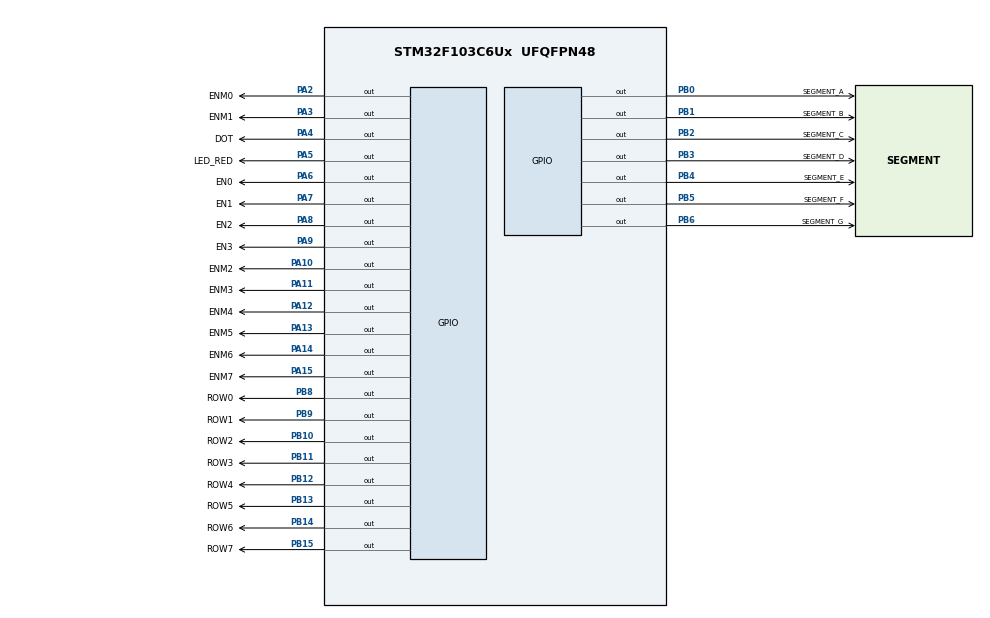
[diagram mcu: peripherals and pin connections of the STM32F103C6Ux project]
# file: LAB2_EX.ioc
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Mcu.Family=STM32F1
Mcu.Name=STM32F103C6Ux
Mcu.Package=UFQFPN48
NVIC.PriorityGroup=NVIC_PRIORITYGROUP_4
NVIC.TIM2_IRQn=true\:0\:0\:false\:false\:true\:true\:true
PA10.GPIO_Label=ENM2
PA10.Signal=GPIO_Output
PA11.GPIO_Label=ENM3
PA11.Signal=GPIO_Output
PA12.GPIO_Label=ENM4
PA12.Signal=GPIO_Output
PA13.GPIO_Label=ENM5
PA13.Signal=GPIO_Output
PA14.GPIO_Label=ENM6
PA14.Signal=GPIO_Output
PA15.GPIO_Label=ENM7
PA15.Signal=GPIO_Output
PA2.GPIO_Label=ENM0
PA2.Signal=GPIO_Output
PA3.GPIO_Label=ENM1
PA3.Signal=GPIO_Output
PA4.GPIO_Label=DOT
PA4.Signal=GPIO_Output
PA5.GPIO_Label=LED_RED
PA5.Signal=GPIO_Output
PA6.GPIO_Label=EN0
PA6.Signal=GPIO_Output
PA7.GPIO_Label=EN1
PA7.Signal=GPIO_Output
PA8.GPIO_Label=EN2
PA8.Signal=GPIO_Output
PA9.GPIO_Label=EN3
PA9.Signal=GPIO_Output
PB0.GPIO_Label=SEGMENT_A
PB0.Signal=GPIO_Output
PB1.GPIO_Label=SEGMENT_B
PB1.Signal=GPIO_Output
PB10.GPIO_Label=ROW2
PB10.Signal=GPIO_Output
PB11.GPIO_Label=ROW3
PB11.Signal=GPIO_Output
PB12.GPIO_Label=ROW4
PB12.Signal=GPIO_Output
PB13.GPIO_Label=ROW5
PB13.Signal=GPIO_Output
PB14.GPIO_Label=ROW6
PB14.Signal=GPIO_Output
PB15.GPIO_Label=ROW7
PB15.Signal=GPIO_Output
PB2.GPIO_Label=SEGMENT_C
PB2.Signal=GPIO_Output
PB3.GPIO_Label=SEGMENT_D
PB3.Signal=GPIO_Output
PB4.GPIO_Label=SEGMENT_E
PB4.Signal=GPIO_Output
PB5.GPIO_Label=SEGMENT_F
PB5.Signal=GPIO_Output
PB6.GPIO_Label=SEGMENT_G
PB6.Signal=GPIO_Output
PB8.GPIO_Label=ROW0
PB8.Signal=GPIO_Output
PB9.GPIO_Label=ROW1
PB9.Signal=GPIO_Output
ProjectManager.HeapSize=0x200
ProjectManager.StackSize=0x400
ProjectManager.TargetToolchain=STM32CubeIDE
RCC.APB1Freq_Value=8000000
RCC.APB2Freq_Value=8000000
TIM2.Period=9
TIM2.Prescaler=7999
VP_SYS_VS_ND.Mode=No_Debug
VP_TIM2_VS_ClockSourceINT.Mode=Internal
board=custom

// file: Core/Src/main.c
/* USER CODE BEGIN Header */
/**
  ******************************************************************************
  * @file           : main.c
  * @brief          : Main program body
  ******************************************************************************
  * @attention
  *
  * <h2><center>&copy; Copyright (c) 2023 STMicroelectronics.
  * All rights reserved.</center></h2>
  *
  * This software component is licensed by ST under BSD 3-Clause license,
  * the "License"; You may not use this file except in compliance with the
  * License. You may obtain a copy of the License at:
  *                        opensource.org/licenses/BSD-3-Clause
  *
  ******************************************************************************
  */
/* USER CODE END Header */
#include "main.h"

/* USER CODE BEGIN Includes */
#include <stdint.h>
#include "software_timer.h"

/* USER CODE END Includes */

TIM_HandleTypeDef htim2;

void SystemClock_Config(void);
static void MX_GPIO_Init(void);
static void MX_TIM2_Init(void);

/* USER CODE BEGIN 0 */

const int MAX_LED_MATRIX = 8;
int index_led_matrix = 0;
uint8_t matrix_buffer[8] = {0x00 , 0xFC , 0xFE , 0x33 , 0x33 , 0xFE , 0xFC , 0x00 };
void updateLEDMatrix (int index ){
	switch ( index ){
		case 0:
			  HAL_GPIO_WritePin(ENM0_GPIO_Port, ENM0_Pin, 0);
			  HAL_GPIO_WritePin(ENM1_GPIO_Port, ENM1_Pin, 1);
			  HAL_GPIO_WritePin(ENM2_GPIO_Port, ENM2_Pin, 1);
			  HAL_GPIO_WritePin(ENM3_GPIO_Port, ENM3_Pin, 1);
			  HAL_GPIO_WritePin(ENM4_GPIO_Port, ENM4_Pin, 1);
			  HAL_GPIO_WritePin(ENM5_GPIO_Port, ENM5_Pin, 1);
			  HAL_GPIO_WritePin(ENM6_GPIO_Port, ENM6_Pin, 1);
			  HAL_GPIO_WritePin(ENM7_GPIO_Port, ENM7_Pin, 1);

			  HAL_GPIO_WritePin(ROW0_GPIO_Port, ROW0_Pin, !(matrix_buffer[0] & 0x01));
			  HAL_GPIO_WritePin(ROW1_GPIO_Port, ROW1_Pin, !(matrix_buffer[0] & 0x02));
			  HAL_GPIO_WritePin(ROW2_GPIO_Port, ROW2_Pin, !(matrix_buffer[0] & 0x04));
			  HAL_GPIO_WritePin(ROW3_GPIO_Port, ROW3_Pin, !(matrix_buffer[0] & 0x08));
			  HAL_GPIO_WritePin(ROW4_GPIO_Port, ROW4_Pin, !(matrix_buffer[0] & 0x10));
			  HAL_GPIO_WritePin(ROW5_GPIO_Port, ROW5_Pin, !(matrix_buffer[0] & 0x20));
			  HAL_GPIO_WritePin(ROW6_GPIO_Port, ROW6_Pin, !(matrix_buffer[0] & 0x40));
			  HAL_GPIO_WritePin(ROW7_GPIO_Port, ROW7_Pin, !(matrix_buffer[0] & 0x80));
			break ;
		case 1:
			  HAL_GPIO_WritePin(ENM0_GPIO_Port, ENM0_Pin, 1);
			  HAL_GPIO_WritePin(ENM1_GPIO_Port, ENM1_Pin, 0);
			  HAL_GPIO_WritePin(ENM2_GPIO_Port, ENM2_Pin, 1);
			  HAL_GPIO_WritePin(ENM3_GPIO_Port, ENM3_Pin, 1);
			  HAL_GPIO_WritePin(ENM4_GPIO_Port, ENM4_Pin, 1);
			  HAL_GPIO_WritePin(ENM5_GPIO_Port, ENM5_Pin, 1);
			  HAL_GPIO_WritePin(ENM6_GPIO_Port, ENM6_Pin, 1);
			  HAL_GPIO_WritePin(ENM7_GPIO_Port, ENM7_Pin, 1);

			  HAL_GPIO_WritePin(ROW0_GPIO_Port, ROW0_Pin, !(matrix_buffer[1] & 0x01));
			  HAL_GPIO_WritePin(ROW1_GPIO_Port, ROW1_Pin, !(matrix_buffer[1] & 0x02));
			  HAL_GPIO_WritePin(ROW2_GPIO_Port, ROW2_Pin, !(matrix_buffer[1] & 0x04));
			  HAL_GPIO_WritePin(ROW3_GPIO_Port, ROW3_Pin, !(matrix_buffer[1] & 0x08));
			  HAL_GPIO_WritePin(ROW4_GPIO_Port, ROW4_Pin, !(matrix_buffer[1] & 0x10));
			  HAL_GPIO_WritePin(ROW5_GPIO_Port, ROW5_Pin, !(matrix_buffer[1] & 0x20));
			  HAL_GPIO_WritePin(ROW6_GPIO_Port, ROW6_Pin, !(matrix_buffer[1] & 0x40));
			  HAL_GPIO_WritePin(ROW7_GPIO_Port, ROW7_Pin, !(matrix_buffer[1] & 0x80));
			break ;
		case 2:
			  HAL_GPIO_WritePin(ENM0_GPIO_Port, ENM0_Pin, 1);
			  HAL_GPIO_WritePin(ENM1_GPIO_Port, ENM1_Pin, 1);
			  HAL_GPIO_WritePin(ENM2_GPIO_Port, ENM2_Pin, 0);
			  HAL_GPIO_WritePin(ENM3_GPIO_Port, ENM3_Pin, 1);
			  HAL_GPIO_WritePin(ENM4_GPIO_Port, ENM4_Pin, 1);
			  HAL_GPIO_WritePin(ENM5_GPIO_Port, ENM5_Pin, 1);
			  HAL_GPIO_WritePin(ENM6_GPIO_Port, ENM6_Pin, 1);
			  HAL_GPIO_WritePin(ENM7_GPIO_Port, ENM7_Pin, 1);

			  HAL_GPIO_WritePin(ROW0_GPIO_Port, ROW0_Pin, !(matrix_buffer[2] & 0x01));
			  HAL_GPIO_WritePin(ROW1_GPIO_Port, ROW1_Pin, !(matrix_buffer[2] & 0x02));
			  HAL_GPIO_WritePin(ROW2_GPIO_Port, ROW2_Pin, !(matrix_buffer[2] & 0x04));
			  HAL_GPIO_WritePin(ROW3_GPIO_Port, ROW3_Pin, !(matrix_buffer[2] & 0x08));
			  HAL_GPIO_WritePin(ROW4_GPIO_Port, ROW4_Pin, !(matrix_buffer[2] & 0x10));
			  HAL_GPIO_WritePin(ROW5_GPIO_Port, ROW5_Pin, !(matrix_buffer[2] & 0x20));
			  HAL_GPIO_WritePin(ROW6_GPIO_Port, ROW6_Pin, !(matrix_buffer[2] & 0x40));
			  HAL_GPIO_WritePin(ROW7_GPIO_Port, ROW7_Pin, !(matrix_buffer[2] & 0x80));
			break ;
		case 3:
			  HAL_GPIO_WritePin(ENM0_GPIO_Port, ENM0_Pin, 1);
			  HAL_GPIO_WritePin(ENM1_GPIO_Port, ENM1_Pin, 1);
			  HAL_GPIO_WritePin(ENM2_GPIO_Port, ENM2_Pin, 1);
			  HAL_GPIO_WritePin(ENM3_GPIO_Port, ENM3_Pin, 0);
			  HAL_GPIO_WritePin(ENM4_GPIO_Port, ENM4_Pin, 1);
			  HAL_GPIO_WritePin(ENM5_GPIO_Port, ENM5_Pin, 1);
			  HAL_GPIO_WritePin(ENM6_GPIO_Port, ENM6_Pin, 1);
			  HAL_GPIO_WritePin(ENM7_GPIO_Port, ENM7_Pin, 1);

			  HAL_GPIO_WritePin(ROW0_GPIO_Port, ROW0_Pin, !(matrix_buffer[3] & 0x01));
			  HAL_GPIO_WritePin(ROW1_GPIO_Port, ROW1_Pin, !(matrix_buffer[3] & 0x02));
			  HAL_GPIO_WritePin(ROW2_GPIO_Port, ROW2_Pin, !(matrix_buffer[3] & 0x04));
			  HAL_GPIO_WritePin(ROW3_GPIO_Port, ROW3_Pin, !(matrix_buffer[3] & 0x08));
			  HAL_GPIO_WritePin(ROW4_GPIO_Port, ROW4_Pin, !(matrix_buffer[3] & 0x10));
			  HAL_GPIO_WritePin(ROW5_GPIO_Port, ROW5_Pin, !(matrix_buffer[3] & 0x20));
			  HAL_GPIO_WritePin(ROW6_GPIO_Port, ROW6_Pin, !(matrix_buffer[3] & 0x40));
			  HAL_GPIO_WritePin(ROW7_GPIO_Port, ROW7_Pin, !(matrix_buffer[3] & 0x80));
			break ;
		case 4:
			  HAL_GPIO_WritePin(ENM0_GPIO_Port, ENM0_Pin, 1);
			  HAL_GPIO_WritePin(ENM1_GPIO_Port, ENM1_Pin, 1);
			  HAL_GPIO_WritePin(ENM2_GPIO_Port, ENM2_Pin, 1);
			  HAL_GPIO_WritePin(ENM3_GPIO_Port, ENM3_Pin, 1);
			  HAL_GPIO_WritePin(ENM4_GPIO_Port, ENM4_Pin, 0);
			  HAL_GPIO_WritePin(ENM5_GPIO_Port, ENM5_Pin, 1);
			  HAL_GPIO_WritePin(ENM6_GPIO_Port, ENM6_Pin, 1);
			  HAL_GPIO_WritePin(ENM7_GPIO_Port, ENM7_Pin, 1);

			  HAL_GPIO_WritePin(ROW0_GPIO_Port, ROW0_Pin, !(matrix_buffer[4] & 0x01));
			  HAL_GPIO_WritePin(ROW1_GPIO_Port, ROW1_Pin, !(matrix_buffer[4] & 0x02));
			  HAL_GPIO_WritePin(ROW2_GPIO_Port, ROW2_Pin, !(matrix_buffer[4] & 0x04));
			  HAL_GPIO_WritePin(ROW3_GPIO_Port, ROW3_Pin, !(matrix_buffer[4] & 0x08));
			  HAL_GPIO_WritePin(ROW4_GPIO_Port, ROW4_Pin, !(matrix_buffer[4] & 0x10));
			  HAL_GPIO_WritePin(ROW5_GPIO_Port, ROW5_Pin, !(matrix_buffer[4] & 0x20));
			  HAL_GPIO_WritePin(ROW6_GPIO_Port, ROW6_Pin, !(matrix_buffer[4] & 0x40));
			  HAL_GPIO_WritePin(ROW7_GPIO_Port, ROW7_Pin, !(matrix_buffer[4] & 0x80));
			break ;
		case 5:
			  HAL_GPIO_WritePin(ENM0_GPIO_Port, ENM0_Pin, 1);
			  HAL_GPIO_WritePin(ENM1_GPIO_Port, ENM1_Pin, 1);
			  HAL_GPIO_WritePin(ENM2_GPIO_Port, ENM2_Pin, 1);
			  HAL_GPIO_WritePin(ENM3_GPIO_Port, ENM3_Pin, 1);
			  HAL_GPIO_WritePin(ENM4_GPIO_Port, ENM4_Pin, 1);
			  HAL_GPIO_WritePin(ENM5_GPIO_Port, ENM5_Pin, 0);
			  HAL_GPIO_WritePin(ENM6_GPIO_Port, ENM6_Pin, 1);
			  HAL_GPIO_WritePin(ENM7_GPIO_Port, ENM7_Pin, 1);

			  HAL_GPIO_WritePin(ROW0_GPIO_Port, ROW0_Pin, !(matrix_buffer[5] & 0x01));
			  HAL_GPIO_WritePin(ROW1_GPIO_Port, ROW1_Pin, !(matrix_buffer[5] & 0x02));
			  HAL_GPIO_WritePin(ROW2_GPIO_Port, ROW2_Pin, !(matrix_buffer[5] & 0x04));
			  HAL_GPIO_WritePin(ROW3_GPIO_Port, ROW3_Pin, !(matrix_buffer[5] & 0x08));
			  HAL_GPIO_WritePin(ROW4_GPIO_Port, ROW4_Pin, !(matrix_buffer[5] & 0x10));
			  HAL_GPIO_WritePin(ROW5_GPIO_Port, ROW5_Pin, !(matrix_buffer[5] & 0x20));
			  HAL_GPIO_WritePin(ROW6_GPIO_Port, ROW6_Pin, !(matrix_buffer[5] & 0x40));
			  HAL_GPIO_WritePin(ROW7_GPIO_Port, ROW7_Pin, !(matrix_buffer[5] & 0x80));
			break ;
		case 6:
			  HAL_GPIO_WritePin(ENM0_GPIO_Port, ENM0_Pin, 1);
			  HAL_GPIO_WritePin(ENM1_GPIO_Port, ENM1_Pin, 1);
			  HAL_GPIO_WritePin(ENM2_GPIO_Port, ENM2_Pin, 1);
			  HAL_GPIO_WritePin(ENM3_GPIO_Port, ENM3_Pin, 1);
			  HAL_GPIO_WritePin(ENM4_GPIO_Port, ENM4_Pin, 1);
			  HAL_GPIO_WritePin(ENM5_GPIO_Port, ENM5_Pin, 1);
			  HAL_GPIO_WritePin(ENM6_GPIO_Port, ENM6_Pin, 0);
			  HAL_GPIO_WritePin(ENM7_GPIO_Port, ENM7_Pin, 1);

			  HAL_GPIO_WritePin(ROW0_GPIO_Port, ROW0_Pin, !(matrix_buffer[6] & 0x01));
			  HAL_GPIO_WritePin(ROW1_GPIO_Port, ROW1_Pin, !(matrix_buffer[6] & 0x02));
			  HAL_GPIO_WritePin(ROW2_GPIO_Port, ROW2_Pin, !(matrix_buffer[6] & 0x04));
			  HAL_GPIO_WritePin(ROW3_GPIO_Port, ROW3_Pin, !(matrix_buffer[6] & 0x08));
			  HAL_GPIO_WritePin(ROW4_GPIO_Port, ROW4_Pin, !(matrix_buffer[6] & 0x10));
			  HAL_GPIO_WritePin(ROW5_GPIO_Port, ROW5_Pin, !(matrix_buffer[6] & 0x20));
			  HAL_GPIO_WritePin(ROW6_GPIO_Port, ROW6_Pin, !(matrix_buffer[6] & 0x40));
			  HAL_GPIO_WritePin(ROW7_GPIO_Port, ROW7_Pin, !(matrix_buffer[6] & 0x80));
			break ;
		case 7:
			  HAL_GPIO_WritePin(ENM0_GPIO_Port, ENM0_Pin, 1);
			  HAL_GPIO_WritePin(ENM1_GPIO_Port, ENM1_Pin, 1);
			  HAL_GPIO_WritePin(ENM2_GPIO_Port, ENM2_Pin, 1);
			  HAL_GPIO_WritePin(ENM3_GPIO_Port, ENM3_Pin, 1);
			  HAL_GPIO_WritePin(ENM4_GPIO_Port, ENM4_Pin, 1);
			  HAL_GPIO_WritePin(ENM5_GPIO_Port, ENM5_Pin, 1);
			  HAL_GPIO_WritePin(ENM6_GPIO_Port, ENM6_Pin, 1);
			  HAL_GPIO_WritePin(ENM7_GPIO_Port, ENM7_Pin, 0);

			  HAL_GPIO_WritePin(ROW0_GPIO_Port, ROW0_Pin, !(matrix_buffer[7] & 0x01));
			  HAL_GPIO_WritePin(ROW1_GPIO_Port, ROW1_Pin, !(matrix_buffer[7] & 0x02));
			  HAL_GPIO_WritePin(ROW2_GPIO_Port, ROW2_Pin, !(matrix_buffer[7] & 0x04));
			  HAL_GPIO_WritePin(ROW3_GPIO_Port, ROW3_Pin, !(matrix_buffer[7] & 0x08));
			  HAL_GPIO_WritePin(ROW4_GPIO_Port, ROW4_Pin, !(matrix_buffer[7] & 0x10));
			  HAL_GPIO_WritePin(ROW5_GPIO_Port, ROW5_Pin, !(matrix_buffer[7] & 0x20));
			  HAL_GPIO_WritePin(ROW6_GPIO_Port, ROW6_Pin, !(matrix_buffer[7] & 0x40));
			  HAL_GPIO_WritePin(ROW7_GPIO_Port, ROW7_Pin, !(matrix_buffer[7] & 0x80));
			break ;
		default :
			break ;
	}
}
// update matrix buffer
void updateMatrixBuffer()
{
	uint8_t temp = matrix_buffer[0];
	matrix_buffer[0] = matrix_buffer[1];
	matrix_buffer[1] = matrix_buffer[2];
	matrix_buffer[2] = matrix_buffer[3];
	matrix_buffer[3] = matrix_buffer[4];
	matrix_buffer[4] = matrix_buffer[5];
	matrix_buffer[5] = matrix_buffer[6];
	matrix_buffer[6] = matrix_buffer[7];
	matrix_buffer[7] = temp;
}
// display 7 SEG
void display7SEG(int num)
{
	  if(num == 0)
	  {
		  HAL_GPIO_WritePin(SEGMENT_A_GPIO_Port, SEGMENT_A_Pin, 0);
		  HAL_GPIO_WritePin(SEGMENT_B_GPIO_Port, SEGMENT_B_Pin, 0);
		  HAL_GPIO_WritePin(SEGMENT_C_GPIO_Port, SEGMENT_C_Pin, 0);
		  HAL_GPIO_WritePin(SEGMENT_D_GPIO_Port, SEGMENT_D_Pin, 0);
		  HAL_GPIO_WritePin(SEGMENT_E_GPIO_Port, SEGMENT_E_Pin, 0);
		  HAL_GPIO_WritePin(SEGMENT_F_GPIO_Port, SEGMENT_F_Pin, 0);
		  HAL_GPIO_WritePin(SEGMENT_G_GPIO_Port, SEGMENT_G_Pin, 1);

	  }
	  if(num == 1)
	  {
		  HAL_GPIO_WritePin(SEGMENT_A_GPIO_Port, SEGMENT_A_Pin, 1);
		  HAL_GPIO_WritePin(SEGMENT_B_GPIO_Port, SEGMENT_B_Pin, 0);
		  HAL_GPIO_WritePin(SEGMENT_C_GPIO_Port, SEGMENT_C_Pin, 0);
		  HAL_GPIO_WritePin(SEGMENT_D_GPIO_Port, SEGMENT_D_Pin, 1);
		  HAL_GPIO_WritePin(SEGMENT_E_GPIO_Port, SEGMENT_E_Pin, 1);
		  HAL_GPIO_WritePin(SEGMENT_F_GPIO_Port, SEGMENT_F_Pin, 1);
		  HAL_GPIO_WritePin(SEGMENT_G_GPIO_Port, SEGMENT_G_Pin, 1);
	  }
	  if(num == 2)
	  {
		  HAL_GPIO_WritePin(SEGMENT_A_GPIO_Port, SEGMENT_A_Pin, 0);
		  HAL_GPIO_WritePin(SEGMENT_B_GPIO_Port, SEGMENT_B_Pin, 0);
		  HAL_GPIO_WritePin(SEGMENT_C_GPIO_Port, SEGMENT_C_Pin, 1);
		  HAL_GPIO_WritePin(SEGMENT_D_GPIO_Port, SEGMENT_D_Pin, 0);
		  HAL_GPIO_WritePin(SEGMENT_E_GPIO_Port, SEGMENT_E_Pin, 0);
		  HAL_GPIO_WritePin(SEGMENT_F_GPIO_Port, SEGMENT_F_Pin, 1);
		  HAL_GPIO_WritePin(SEGMENT_G_GPIO_Port, SEGMENT_G_Pin, 0);
	  }
	  if(num == 3)
	  {
		  HAL_GPIO_WritePin(SEGMENT_A_GPIO_Port, SEGMENT_A_Pin, 0);
		  HAL_GPIO_WritePin(SEGMENT_B_GPIO_Port, SEGMENT_B_Pin, 0);
		  HAL_GPIO_WritePin(SEGMENT_C_GPIO_Port, SEGMENT_C_Pin, 0);
		  HAL_GPIO_WritePin(SEGMENT_D_GPIO_Port, SEGMENT_D_Pin, 0);
		  HAL_GPIO_WritePin(SEGMENT_E_GPIO_Port, SEGMENT_E_Pin, 1);
		  HAL_GPIO_WritePin(SEGMENT_F_GPIO_Port, SEGMENT_F_Pin, 1);
		  HAL_GPIO_WritePin(SEGMENT_G_GPIO_Port, SEGMENT_G_Pin, 0);
	  }
	  if(num == 4)
	  {
		  HAL_GPIO_WritePin(SEGMENT_A_GPIO_Port, SEGMENT_A_Pin, 1);
		  HAL_GPIO_WritePin(SEGMENT_B_GPIO_Port, SEGMENT_B_Pin, 0);
		  HAL_GPIO_WritePin(SEGMENT_C_GPIO_Port, SEGMENT_C_Pin, 0);
		  HAL_GPIO_WritePin(SEGMENT_D_GPIO_Port, SEGMENT_D_Pin, 1);
		  HAL_GPIO_WritePin(SEGMENT_E_GPIO_Port, SEGMENT_E_Pin, 1);
		  HAL_GPIO_WritePin(SEGMENT_F_GPIO_Port, SEGMENT_F_Pin, 0);
		  HAL_GPIO_WritePin(SEGMENT_G_GPIO_Port, SEGMENT_G_Pin, 0);
	  }
	  if(num == 5)
	  {
		  HAL_GPIO_WritePin(SEGMENT_A_GPIO_Port, SEGMENT_A_Pin, 0);
		  HAL_GPIO_WritePin(SEGMENT_B_GPIO_Port, SEGMENT_B_Pin, 1);
		  HAL_GPIO_WritePin(SEGMENT_C_GPIO_Port, SEGMENT_C_Pin, 0);
		  HAL_GPIO_WritePin(SEGMENT_D_GPIO_Port, SEGMENT_D_Pin, 0);
		  HAL_GPIO_WritePin(SEGMENT_E_GPIO_Port, SEGMENT_E_Pin, 1);
		  HAL_GPIO_WritePin(SEGMENT_F_GPIO_Port, SEGMENT_F_Pin, 0);
		  HAL_GPIO_WritePin(SEGMENT_G_GPIO_Port, SEGMENT_G_Pin, 0);
	  }
	  if(num == 6)
	  {
		  HAL_GPIO_WritePin(SEGMENT_A_GPIO_Port, SEGMENT_A_Pin, 0);
		  HAL_GPIO_WritePin(SEGMENT_B_GPIO_Port, SEGMENT_B_Pin, 1);
		  HAL_GPIO_WritePin(SEGMENT_C_GPIO_Port, SEGMENT_C_Pin, 0);
		  HAL_GPIO_WritePin(SEGMENT_D_GPIO_Port, SEGMENT_D_Pin, 0);
		  HAL_GPIO_WritePin(SEGMENT_E_GPIO_Port, SEGMENT_E_Pin, 0);
		  HAL_GPIO_WritePin(SEGMENT_F_GPIO_Port, SEGMENT_F_Pin, 0);
		  HAL_GPIO_WritePin(SEGMENT_G_GPIO_Port, SEGMENT_G_Pin, 0);
	  }
	  if(num == 7)
	  {
		  HAL_GPIO_WritePin(SEGMENT_A_GPIO_Port, SEGMENT_A_Pin, 0);
		  HAL_GPIO_WritePin(SEGMENT_B_GPIO_Port, SEGMENT_B_Pin, 0);
		  HAL_GPIO_WritePin(SEGMENT_C_GPIO_Port, SEGMENT_C_Pin, 0);
		  HAL_GPIO_WritePin(SEGMENT_D_GPIO_Port, SEGMENT_D_Pin, 1);
		  HAL_GPIO_WritePin(SEGMENT_E_GPIO_Port, SEGMENT_E_Pin, 1);
		  HAL_GPIO_WritePin(SEGMENT_F_GPIO_Port, SEGMENT_F_Pin, 1);
		  HAL_GPIO_WritePin(SEGMENT_G_GPIO_Port, SEGMENT_G_Pin, 1);
	  }
	  if(num == 8)
	  {
		  HAL_GPIO_WritePin(SEGMENT_A_GPIO_Port, SEGMENT_A_Pin, 0);
		  HAL_GPIO_WritePin(SEGMENT_B_GPIO_Port, SEGMENT_B_Pin, 0);
		  HAL_GPIO_WritePin(SEGMENT_C_GPIO_Port, SEGMENT_C_Pin, 0);
		  HAL_GPIO_WritePin(SEGMENT_D_GPIO_Port, SEGMENT_D_Pin, 0);
		  HAL_GPIO_WritePin(SEGMENT_E_GPIO_Port, SEGMENT_E_Pin, 0);
		  HAL_GPIO_WritePin(SEGMENT_F_GPIO_Port, SEGMENT_F_Pin, 0);
		  HAL_GPIO_WritePin(SEGMENT_G_GPIO_Port, SEGMENT_G_Pin, 0);
	  }
	  if(num == 9)
	  {
		  HAL_GPIO_WritePin(SEGMENT_A_GPIO_Port, SEGMENT_A_Pin, 0);
		  HAL_GPIO_WritePin(SEGMENT_B_GPIO_Port, SEGMENT_B_Pin, 0);
		  HAL_GPIO_WritePin(SEGMENT_C_GPIO_Port, SEGMENT_C_Pin, 0);
		  HAL_GPIO_WritePin(SEGMENT_D_GPIO_Port, SEGMENT_D_Pin, 0);
		  HAL_GPIO_WritePin(SEGMENT_E_GPIO_Port, SEGMENT_E_Pin, 1);
		  HAL_GPIO_WritePin(SEGMENT_F_GPIO_Port, SEGMENT_F_Pin, 0);
		  HAL_GPIO_WritePin(SEGMENT_G_GPIO_Port, SEGMENT_G_Pin, 0);
	  }
}

const int MAX_LED = 4;
int led_buffer [4] = {1, 0, 2, 8};
int hour = 15, minute = 8, second = 50;
void update7SEG ( int index ){
	switch ( index ){
	case 0:
		// Display the first 7 SEG with led_buffer [0]
	  	HAL_GPIO_WritePin(EN0_GPIO_Port, EN0_Pin, 0);
	  	HAL_GPIO_WritePin(EN1_GPIO_Port, EN1_Pin, 1);
	  	HAL_GPIO_WritePin(EN2_GPIO_Port, EN2_Pin, 1);
	  	HAL_GPIO_WritePin(EN3_GPIO_Port, EN3_Pin, 1);
		display7SEG(led_buffer[0]);
		break ;
	case 1:
		// Display the second 7 SEG with led_buffer [1]
	  	HAL_GPIO_WritePin(EN0_GPIO_Port, EN0_Pin, 1);
	  	HAL_GPIO_WritePin(EN1_GPIO_Port, EN1_Pin, 0);
	  	HAL_GPIO_WritePin(EN2_GPIO_Port, EN2_Pin, 1);
	  	HAL_GPIO_WritePin(EN3_GPIO_Port, EN3_Pin, 1);
		display7SEG(led_buffer[1]);
		break ;
	case 2:
		// Display the third 7 SEG with led_buffer [2]
	  	HAL_GPIO_WritePin(EN0_GPIO_Port, EN0_Pin, 1);
	  	HAL_GPIO_WritePin(EN1_GPIO_Port, EN1_Pin, 1);
	  	HAL_GPIO_WritePin(EN2_GPIO_Port, EN2_Pin, 0);
	  	HAL_GPIO_WritePin(EN3_GPIO_Port, EN3_Pin, 1);
		display7SEG(led_buffer[2]);
		break ;
	case 3:
		// Display the forth 7 SEG with led_buffer [3]
	  	HAL_GPIO_WritePin(EN0_GPIO_Port, EN0_Pin, 1);
	  	HAL_GPIO_WritePin(EN1_GPIO_Port, EN1_Pin, 1);
	  	HAL_GPIO_WritePin(EN2_GPIO_Port, EN2_Pin, 1);
	  	HAL_GPIO_WritePin(EN3_GPIO_Port, EN3_Pin, 0);
		display7SEG(led_buffer[3]);
		break ;
	default :
		break ;
	}
}

// update clock
void updateClockBuffer ()
{
	led_buffer[0] = hour / 10;
	led_buffer[1] = hour % 10;
	led_buffer[2] = minute / 10;
	led_buffer[3] = minute % 10;
}
/* USER CODE END 0 */

int main(void)
{
  /* USER CODE BEGIN 1 */
	int index_led = 0;

  /* USER CODE END 1 */

  /* MCU Configuration--------------------------------------------------------*/

  /* Reset of all peripherals, Initializes the Flash interface and the Systick. */
  HAL_Init();

  /* Configure the system clock */
  SystemClock_Config();

  /* Initialize all configured peripherals */
  MX_GPIO_Init();
  MX_TIM2_Init();
  /* USER CODE BEGIN 2 */
  HAL_TIM_Base_Start_IT(&htim2);
  /* USER CODE END 2 */

  /* Infinite loop */
  /* USER CODE BEGIN WHILE */

  setTimer1(100);
  setTimer2(25);
  setTimer3(10);
  setTimer4(80);
  updateClockBuffer ();
  while (1)
  {
	  if (timer1_flag == 1)
	  {
		  setTimer1(100);
		  //TO DO
		  HAL_GPIO_TogglePin(DOT_GPIO_Port, DOT_Pin);
		  HAL_GPIO_TogglePin(LED_RED_GPIO_Port, LED_RED_Pin);

		  // update time
		  second++;
		  if ( second >= 60)
		  {
			  second = 0;
		  	  minute++;
		  }
		  if( minute >= 60)
		  {
			  minute = 0;
		  	  hour++;
		  }
		  if( hour >=24)
		  {
			  hour = 0;
		  }
		  updateClockBuffer ();

	  }
	  if (timer2_flag == 1)
	  {
		  setTimer2(25);
		  switch (index_led)
		 		  {
		 		  	case 0:
		 		  		update7SEG(index_led);
		 		  		break;
		 		  	case 1:
		 		  		update7SEG(index_led);
		 		  		break;
		 		  	case 2:
		 		  		update7SEG(index_led);
		 		  		break;
		 		  	case 3:
		 		  		update7SEG(index_led);
		 		  		break;
		 		  	default:
		 		  		break;

		 		  }
		  index_led++;
		  if (index_led >= MAX_LED) index_led = 0;
	  	  }
	  if (timer3_flag == 1)
	  {
		  setTimer3(10);
		  updateLEDMatrix(index_led_matrix);
		  index_led_matrix++;
		  if (index_led_matrix >= MAX_LED_MATRIX) index_led_matrix = 0;
	  }
	  if (timer4_flag == 1)
	  {
		  setTimer4(80);
		  updateMatrixBuffer();
	  }

    /* USER CODE END WHILE */

  }
}

void SystemClock_Config(void)
{
  RCC_OscInitTypeDef RCC_OscInitStruct = {0};
  RCC_ClkInitTypeDef RCC_ClkInitStruct = {0};

  /** Initializes the RCC Oscillators according to the specified parameters
  * in the RCC_OscInitTypeDef structure.
  */
  RCC_OscInitStruct.OscillatorType = RCC_OSCILLATORTYPE_HSI;
  RCC_OscInitStruct.HSIState = RCC_HSI_ON;
  RCC_OscInitStruct.HSICalibrationValue = RCC_HSICALIBRATION_DEFAULT;
  RCC_OscInitStruct.PLL.PLLState = RCC_PLL_NONE;
  if (HAL_RCC_OscConfig(&RCC_OscInitStruct) != HAL_OK)
  {
    Error_Handler();
  }
  /** Initializes the CPU, AHB and APB buses clocks
  */
  RCC_ClkInitStruct.ClockType = RCC_CLOCKTYPE_HCLK|RCC_CLOCKTYPE_SYSCLK
                              |RCC_CLOCKTYPE_PCLK1|RCC_CLOCKTYPE_PCLK2;
  RCC_ClkInitStruct.SYSCLKSource = RCC_SYSCLKSOURCE_HSI;
  RCC_ClkInitStruct.AHBCLKDivider = RCC_SYSCLK_DIV1;
  RCC_ClkInitStruct.APB1CLKDivider = RCC_HCLK_DIV1;
  RCC_ClkInitStruct.APB2CLKDivider = RCC_HCLK_DIV1;

  if (HAL_RCC_ClockConfig(&RCC_ClkInitStruct, FLASH_LATENCY_0) != HAL_OK)
  {
    Error_Handler();
  }
}

static void MX_TIM2_Init(void)
{

  TIM_ClockConfigTypeDef sClockSourceConfig = {0};
  TIM_MasterConfigTypeDef sMasterConfig = {0};

  htim2.Instance = TIM2;
  htim2.Init.Prescaler = 7999;
  htim2.Init.CounterMode = TIM_COUNTERMODE_UP;
  htim2.Init.Period = 9;
  htim2.Init.ClockDivision = TIM_CLOCKDIVISION_DIV1;
  htim2.Init.AutoReloadPreload = TIM_AUTORELOAD_PRELOAD_DISABLE;
  if (HAL_TIM_Base_Init(&htim2) != HAL_OK)
  {
    Error_Handler();
  }
  sClockSourceConfig.ClockSource = TIM_CLOCKSOURCE_INTERNAL;
  if (HAL_TIM_ConfigClockSource(&htim2, &sClockSourceConfig) != HAL_OK)
  {
    Error_Handler();
  }
  sMasterConfig.MasterOutputTrigger = TIM_TRGO_RESET;
  sMasterConfig.MasterSlaveMode = TIM_MASTERSLAVEMODE_DISABLE;
  if (HAL_TIMEx_MasterConfigSynchronization(&htim2, &sMasterConfig) != HAL_OK)
  {
    Error_Handler();
  }

}

static void MX_GPIO_Init(void)
{
  GPIO_InitTypeDef GPIO_InitStruct = {0};

  /* GPIO Ports Clock Enable */
  __HAL_RCC_GPIOA_CLK_ENABLE();
  __HAL_RCC_GPIOB_CLK_ENABLE();

  /*Configure GPIO pin Output Level */
  HAL_GPIO_WritePin(GPIOA, ENM0_Pin|ENM1_Pin|DOT_Pin|LED_RED_Pin
                          |EN0_Pin|EN1_Pin|EN2_Pin|EN3_Pin
                          |ENM2_Pin|ENM3_Pin|ENM4_Pin|ENM5_Pin
                          |ENM6_Pin|ENM7_Pin, GPIO_PIN_RESET);

  /*Configure GPIO pin Output Level */
  HAL_GPIO_WritePin(GPIOB, SEGMENT_A_Pin|SEGMENT_B_Pin|SEGMENT_C_Pin|ROW2_Pin
                          |ROW3_Pin|ROW4_Pin|ROW5_Pin|ROW6_Pin
                          |ROW7_Pin|SEGMENT_D_Pin|SEGMENT_E_Pin|SEGMENT_F_Pin
                          |SEGMENT_G_Pin|ROW0_Pin|ROW1_Pin, GPIO_PIN_RESET);

  /*Configure GPIO pins : ENM0_Pin ENM1_Pin DOT_Pin LED_RED_Pin
                           EN0_Pin EN1_Pin EN2_Pin EN3_Pin
                           ENM2_Pin ENM3_Pin ENM4_Pin ENM5_Pin
                           ENM6_Pin ENM7_Pin */
  GPIO_InitStruct.Pin = ENM0_Pin|ENM1_Pin|DOT_Pin|LED_RED_Pin
                          |EN0_Pin|EN1_Pin|EN2_Pin|EN3_Pin
                          |ENM2_Pin|ENM3_Pin|ENM4_Pin|ENM5_Pin
                          |ENM6_Pin|ENM7_Pin;
  GPIO_InitStruct.Mode = GPIO_MODE_OUTPUT_PP;
  GPIO_InitStruct.Pull = GPIO_NOPULL;
  GPIO_InitStruct.Speed = GPIO_SPEED_FREQ_LOW;
  HAL_GPIO_Init(GPIOA, &GPIO_InitStruct);

  /*Configure GPIO pins : SEGMENT_A_Pin SEGMENT_B_Pin SEGMENT_C_Pin ROW2_Pin
                           ROW3_Pin ROW4_Pin ROW5_Pin ROW6_Pin
                           ROW7_Pin SEGMENT_D_Pin SEGMENT_E_Pin SEGMENT_F_Pin
                           SEGMENT_G_Pin ROW0_Pin ROW1_Pin */
  GPIO_InitStruct.Pin = SEGMENT_A_Pin|SEGMENT_B_Pin|SEGMENT_C_Pin|ROW2_Pin
                          |ROW3_Pin|ROW4_Pin|ROW5_Pin|ROW6_Pin
                          |ROW7_Pin|SEGMENT_D_Pin|SEGMENT_E_Pin|SEGMENT_F_Pin
                          |SEGMENT_G_Pin|ROW0_Pin|ROW1_Pin;
  GPIO_InitStruct.Mode = GPIO_MODE_OUTPUT_PP;
  GPIO_InitStruct.Pull = GPIO_NOPULL;
  GPIO_InitStruct.Speed = GPIO_SPEED_FREQ_LOW;
  HAL_GPIO_Init(GPIOB, &GPIO_InitStruct);

}

/* USER CODE BEGIN 4 */
void HAL_TIM_PeriodElapsedCallback(TIM_HandleTypeDef * htim)
{
	timerRun();
}
/* USER CODE END 4 */

void Error_Handler(void)
{
  __disable_irq();
  while (1)
  {
  }
}

/************************ (C) COPYRIGHT STMicroelectronics *****END OF FILE****/
